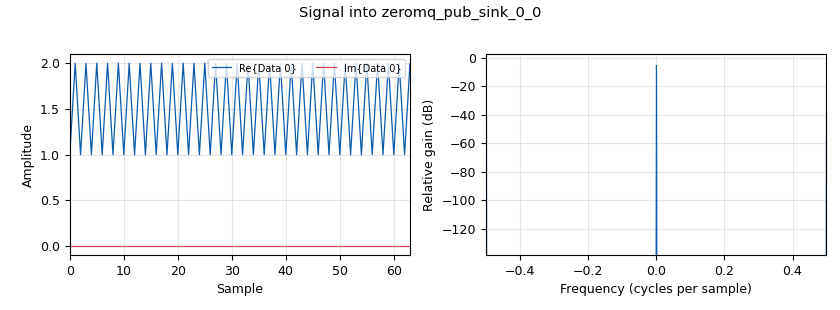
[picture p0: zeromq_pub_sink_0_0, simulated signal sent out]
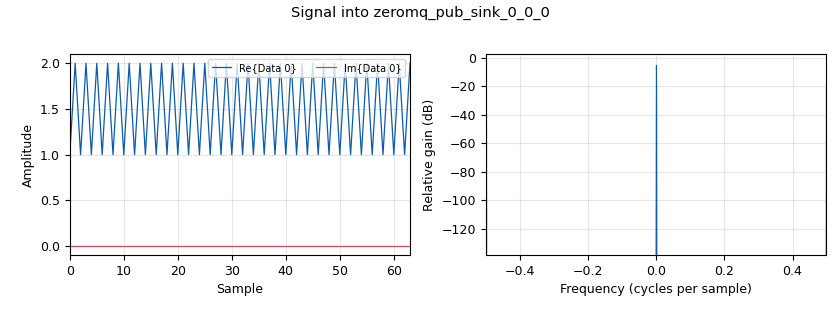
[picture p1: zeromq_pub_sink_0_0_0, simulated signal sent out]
options:
  parameters:
    generate_options: qt_gui
    id: pruebita
    output_language: python
    title: prueba
  states: {}

blocks:
- name: samp_rate
  id: variable
  parameters:
    value: '32000'
  states: {}
- name: blocks_vector_to_stream_0_0
  id: blocks_vector_to_stream
  parameters:
    num_items: '1'
    type: complex
    vlen: '2'
  states: {}
- name: blocks_vector_to_stream_0_0_0
  id: blocks_vector_to_stream
  parameters:
    num_items: '1'
    type: complex
    vlen: '2'
  states: {}
- name: epy_block_0_0_0
  id: epy_block
  parameters:
    _source_code: |
      """
      Embedded Python Blocks:

      Each time this file is saved, GRC will instantiate the first class it finds
      to get ports and parameters of your block. The arguments to __init__  will
      be the parameters. All of them are required to have default values!
      """

      import numpy as np
      from gnuradio import gr


      class blk(gr.sync_block):  # other base classes are basic_block, decim_block, interp_block
          """Embedded Python Block example - a simple multiply const"""

          def __init__(self, example_param=1.0):  # only default arguments here
              """arguments to this function show up as parameters in GRC"""
              gr.sync_block.__init__(
                  self,
                  name='Embedded Python Block',   # will show up in GRC
                  in_sig=[],
                  out_sig=[(np.complex64, 2)]
              )
              # if an attribute with the same name as a parameter is found,
              # a callback is registered (properties work, too).
              self.example_param = example_param
              self.lim = 5
              self.arr = [1, 2]

          def work(self, input_items, output_items):
              """example: multiply with constant"""
              output_items[0][:] = self.arr
              if self.lim > 0:
                      print("pub: ", self.arr)
                      self.lim = self.lim-1
              return 2
    comment: esta parte envia arreglos de dim 2
    example_param: '1.0'
  states: {}
- name: epy_block_0_0_0_0_0
  id: epy_block
  parameters:
    _source_code: |
      """
      Embedded Python Blocks:

      Each time this file is saved, GRC will instantiate the first class it finds
      to get ports and parameters of your block. The arguments to __init__  will
      be the parameters. All of them are required to have default values!
      """

      import numpy as np
      from gnuradio import gr


      class blk(gr.sync_block):  # other base classes are basic_block, decim_block, interp_block
          """Embedded Python Block example - a simple multiply const"""

          def __init__(self, example_param=1.0):  # only default arguments here
              """arguments to this function show up as parameters in GRC"""
              gr.sync_block.__init__(
                  self,
                  name='Embedded Python Block',   # will show up in GRC
                  in_sig=[],
                  out_sig=[(np.complex64, 2)]
              )
              # if an attribute with the same name as a parameter is found,
              # a callback is registered (properties work, too).
              self.example_param = example_param
              self.lim = 5
              self.arr = [1, 2]

          def work(self, input_items, output_items):
              """example: multiply with constant"""
              output_items[0][:] = self.arr
              if self.lim > 0:
                      print("pub: ", self.arr)
                      self.lim = self.lim-1
              return 2
    comment: esta parte envia arreglos de dim 2
    example_param: '1.0'
  states: {}
- name: zeromq_pub_sink_0_0
  id: zeromq_pub_sink
  parameters:
    address: tcp://127.0.0.1:5611
    timeout: '100'
    type: complex
    vlen: '2'
  states: {}
- name: zeromq_pub_sink_0_0_0
  id: zeromq_pub_sink
  parameters:
    address: tcp://127.0.0.1:5610
    timeout: '100'
    type: complex
    vlen: '2'
  states: {}

connections:
- [blocks_vector_to_stream_0_0, '0', zeromq_pub_sink_0_0, '0']
- [blocks_vector_to_stream_0_0_0, '0', zeromq_pub_sink_0_0_0, '0']
- [epy_block_0_0_0, '0', blocks_vector_to_stream_0_0, '0']
- [epy_block_0_0_0_0_0, '0', blocks_vector_to_stream_0_0_0, '0']

metadata:
  file_format: 1
